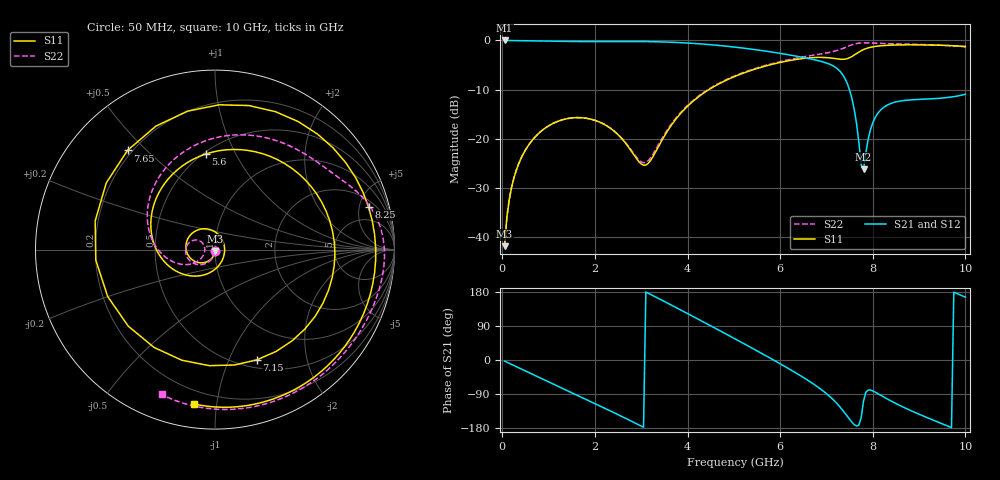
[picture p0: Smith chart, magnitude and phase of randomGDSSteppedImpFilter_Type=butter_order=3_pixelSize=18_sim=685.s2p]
! freq	dB(S11)	phase(S11)	dB(S12)	phase(S12)
!  dB(S21)	phase(S21)	dB(S22)	phase(S22)
!S-par simulation data
#  GHz  S  DB  R 50
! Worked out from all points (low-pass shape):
!   200 points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, 50 MHz to 10 GHz, reference 50 ohm
!   highest |S21| = -0.01 dB at 50 MHz (marker M1); lowest = -26.3 dB at 7.8 GHz (marker M2)
!   |S21| within 3 dB of the highest: start of sweep to 6.233 GHz
!   lowest |S11| = -41.9 dB at 50 MHz (marker M3), VSWR 1.02, Z = 50 - j0.806 ohm
!   |S11| at or under -10 dB: start of sweep to 4.463 GHz
!   |S22| runs from -41.9 to -0.5 dB; largest |S21 - S12| = 0
!   S11 on the Smith chart (normalised r, x): 50 MHz: 1.00, -0.02; 5.6 GHz: 0.51, +0.77; 7.15 GHz: 0.59, -1.27; 7.65 GHz: 0.18, +0.44; 8.25 GHz: 2.74, +6.15; 10 GHz: 0.12, -0.87
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0.05  -41.87 -91.1  -0.01 -3.0  -0.01 -3.0  -41.87 -90.7
0.2  -29.93 -102.3  -0.02 -11.7  -0.02 -11.7  -29.92 -100.5
0.5  -22.30 -121.6  -0.07 -29.0  -0.07 -29.0  -22.29 -117.1
1.75  -15.76 158.2  -0.23 -100.5  -0.23 -100.5  -15.75 179.4
2.65  -20.76 83.1  -0.22 -153.1  -0.22 -153.1  -20.68 150.3
3.05  -25.39 6.5  -0.23 -177.5  -0.23 -177.5  -24.91 178.3
3.4  -21.12 -73.8  -0.29 160.8  -0.29 160.8  -20.75 -147.6
4.25  -11.38 -159.2  -0.69 106.5  -0.69 106.5  -11.24 -170.2
5.05  -7.21 138.4  -1.39 54.2  -1.39 54.2  -7.10 147.9
5.6  -5.44 95.6  -2.06 17.5  -2.06 17.5  -5.31 117.4
6.15  -4.19 50.8  -2.87 -20.4  -2.87 -20.4  -3.99 86.6
6.7  -3.50 -1.7  -3.86 -61.7  -3.86 -61.7  -3.03 56.9
7.15  -3.65 -69.2  -5.22 -105.2  -5.22 -105.2  -2.26 35.1
7.3  -3.83 -106.7  -6.36 -125.1  -6.36 -125.1  -1.83 28.3
7.45  -3.71 -156.4  -8.78 -148.5  -8.78 -148.5  -1.26 20.6
7.65  -2.65 131.4  -16.95 -174.3  -16.95 -174.3  -0.63 7.6
7.8  -1.86 88.3  -26.25 -108.7  -26.25 -108.7  -0.49 -2.6
7.95  -1.40 56.9  -18.16 -79.4  -18.16 -79.4  -0.51 -11.8
8.25  -1.03 15.5  -13.52 -98.6  -13.52 -98.6  -0.64 -27.7
8.35  -0.98 5.3  -12.99 -105.3  -12.99 -105.3  -0.67 -32.6
9.15  -0.92 -51.8  -11.94 -150.8  -11.94 -150.8  -0.86 -69.5
10  -1.23 -97.7  -10.96 165.9  -10.96 165.9  -1.31 -110.3
